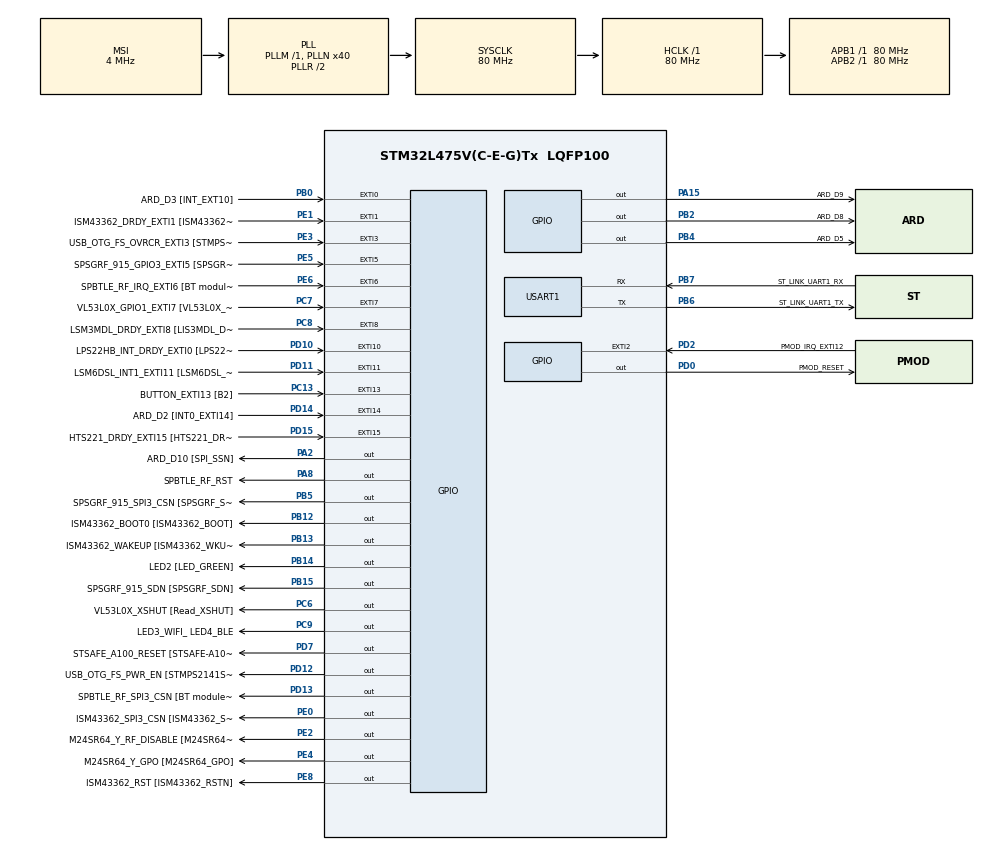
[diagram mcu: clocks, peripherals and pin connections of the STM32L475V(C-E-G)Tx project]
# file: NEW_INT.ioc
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Mcu.Family=STM32L4
Mcu.Name=STM32L475V(C-E-G)Tx
Mcu.Package=LQFP100
NVIC.EXTI15_10_IRQn=true\:0\:0\:false\:false\:true\:true\:true
NVIC.EXTI9_5_IRQn=true\:0\:0\:false\:false\:true\:true\:true
NVIC.PriorityGroup=NVIC_PRIORITYGROUP_4
NVIC.USART1_IRQn=true\:0\:0\:false\:false\:true\:true\:true
PA0.GPIO_Label=ARD_D1 [UART4_TX]
PA0.Signal=UART4_TX
PA1.GPIO_Label=ARD_D0 [UART4_RX]
PA1.Signal=UART4_RX
PA10.GPIO_Label=USB_OTG_FS_ID
PA10.Signal=USB_OTG_FS_ID
PA11.GPIO_Label=USB_OTG_FS_DM
PA11.Signal=USB_OTG_FS_DM
PA12.GPIO_Label=USB_OTG_FS_DP
PA12.Signal=USB_OTG_FS_DP
PA13\ (JTMS-SWDIO).GPIO_Label=SYS_JTMS_SWDIO
PA13\ (JTMS-SWDIO).Signal=SYS_JTMS-SWDIO
PA14\ (JTCK-SWCLK).GPIO_Label=SYS_JTCK_SWCLK
PA14\ (JTCK-SWCLK).Signal=SYS_JTCK-SWCLK
PA15\ (JTDI).GPIO_Label=ARD_D9
PA15\ (JTDI).Signal=GPIO_Output
PA2.GPIO_Label=ARD_D10 [SPI_SSN]
PA2.Signal=GPIO_Output
PA3.GPIO_Label=ARD_D4
PA3.Signal=S_TIM2_CH4
PA4.GPIO_Label=ARD_D7
PA4.Signal=ADCx_IN9
PA5.GPIO_Label=ARD_D13 [SPI1_SCK]
PA5.Signal=SPI1_SCK
PA6.GPIO_Label=ARD_D12 [SPI1_MISO]
PA6.Signal=SPI1_MISO
PA7.GPIO_Label=ARD_D11 [SPI1_MOSI]
PA7.Signal=SPI1_MOSI
PA8.GPIO_Label=SPBTLE_RF_RST
PA8.Signal=GPIO_Output
PA9.GPIO_Label=USB_OTG_FS_VBUS [STMPS2141STR_OUT]
PA9.Signal=USB_OTG_FS_VBUS
PB0.GPIO_Label=ARD_D3 [INT_EXT10]
PB0.Signal=GPXTI0
PB1.GPIO_Label=ARD_D6 [ADC1_IN6]
PB1.Signal=ADCx_IN16
PB10.GPIO_Label=INTERNAL_I2C2_SCL [VL53L0X_SCL]
PB10.Signal=I2C2_SCL
PB11.GPIO_Label=INTERNAL_I2C2_SDA [VL53L0X_SDA]
PB11.Signal=I2C2_SDA
PB12.GPIO_Label=ISM43362_BOOT0 [ISM43362_BOOT]
PB12.Signal=GPIO_Output
PB13.GPIO_Label=ISM43362_WAKEUP [ISM43362_WKUP]
PB13.Signal=GPIO_Output
PB14.GPIO_Label=LED2 [LED_GREEN]
PB14.Signal=GPIO_Output
PB15.GPIO_Label=SPSGRF_915_SDN [SPSGRF_SDN]
PB15.Signal=GPIO_Output
PB2.GPIO_Label=ARD_D8
PB2.Signal=GPIO_Output
PB3\ (JTDO-TRACESWO).GPIO_Label=SYS_JTD0_SWO
PB3\ (JTDO-TRACESWO).Signal=SYS_JTDO-SWO
PB4\ (NJTRST).GPIO_Label=ARD_D5
PB4\ (NJTRST).Signal=GPIO_Output
PB5.GPIO_Label=SPSGRF_915_SPI3_CSN [SPSGRF_SPI_CS]
PB5.PinState=GPIO_PIN_SET
PB5.Signal=GPIO_Output
PB6.GPIO_Label=ST_LINK_UART1_TX
PB6.Mode=Asynchronous
PB6.Signal=USART1_TX
PB7.GPIO_Label=ST_LINK_UART1_RX
PB7.Mode=Asynchronous
PB7.Signal=USART1_RX
PB8.GPIO_Label=ARD_D15 [I2C1_SCL]
PB8.Signal=I2C1_SCL
PB9.GPIO_Label=ARD_D14 [I2C1_SDA]
PB9.Signal=I2C1_SDA
PC0.GPIO_Label=ARD_A5 [ADC]
PC0.Signal=ADCx_IN1
PC1.GPIO_Label=ARD_A4 [ADC]
PC1.Signal=ADCx_IN2
PC10.GPIO_Label=INTERNAL_SPI3_SCK [BT module_SPI_SCLK] [ISM43362_SCK]
PC10.Signal=SPI3_SCK
PC11.GPIO_Label=INTERNAL_SPI3_MISO [BT module_SPI_MISO] [ISM43362_MISO]
PC11.Signal=SPI3_MISO
PC12.GPIO_Label=INTERNAL_SPI3_MOSI [BT module_SPI_MOSI] [ISM43362_MOSI]
PC12.Signal=SPI3_MOSI
PC13.GPIO_Label=BUTTON_EXTI13 [B2]
PC13.GPIO_ModeDefaultEXTI=GPIO_MODE_IT_FALLING
PC13.Signal=GPXTI13
PC14-OSC32_IN\ (PC14).Signal=RCC_OSC32_IN
PC15-OSC32_OUT\ (PC15).Signal=RCC_OSC32_OUT
PC2.GPIO_Label=ARD_A3 [ADC]
PC2.Signal=ADCx_IN3
PC3.GPIO_Label=ARD_A2 [ADC]
PC3.Signal=ADCx_IN4
PC4.GPIO_Label=ARD_A1 [ADC]
PC4.Signal=ADCx_IN13
PC5.GPIO_Label=ARD_A0 [ADC]
PC5.Signal=ADCx_IN14
PC6.GPIO_Label=VL53L0X_XSHUT [Read_XSHUT]
PC6.Signal=GPIO_Output
PC7.GPIO_Label=VL53L0X_GPIO1_EXTI7 [VL53L0X_GPIO1]
PC7.Signal=GPXTI7
PC8.GPIO_Label=LSM3MDL_DRDY_EXTI8 [LIS3MDL_DRDY]
PC8.Signal=GPXTI8
PC9.GPIO_Label=LED3_WIFI_ LED4_BLE
PC9.Signal=GPIO_Output
PD0.GPIO_Label=PMOD_RESET
PD0.Signal=GPIO_Output
PD1.GPIO_Label=PMOD_SPI2_SCK
PD1.Signal=SPI2_SCK
PD10.GPIO_Label=LPS22HB_INT_DRDY_EXTI0 [LPS22HB_INT_DRDY] 
PD10.Signal=GPXTI10
PD11.GPIO_Label=LSM6DSL_INT1_EXTI11 [LSM6DSL_INT1]
PD11.Signal=GPXTI11
PD12.GPIO_Label=USB_OTG_FS_PWR_EN [STMPS2141STR_EN]
PD12.Signal=GPIO_Output
PD13.GPIO_Label=SPBTLE_RF_SPI3_CSN [BT module_SPI_CS]
PD13.PinState=GPIO_PIN_SET
PD13.Signal=GPIO_Output
PD14.GPIO_Label=ARD_D2 [INT0_EXTI14]
PD14.Signal=GPXTI14
PD15.GPIO_Label=HTS221_DRDY_EXTI15 [HTS221_DRDY]
PD15.Signal=GPXTI15
PD2.GPIO_Label=PMOD_IRQ_EXTI12
PD2.Signal=GPXTI2
PD3.GPIO_Label=PMOD_UART2_CTS
PD3.Signal=USART2_CTS
PD4.GPIO_Label=PMOD_UART2_RTS
PD4.Signal=USART2_RTS
PD5.GPIO_Label=PMOD_UART2_TX
PD5.Signal=USART2_TX
PD6.GPIO_Label=PMOD_UART2_RX
PD6.Signal=USART2_RX
PD7.GPIO_Label=STSAFE_A100_RESET [STSAFE-A100_RESET]
PD7.Signal=GPIO_Output
PD8.GPIO_Label=INTERNAL_UART3_TX [ISM43362_RX]
PD8.Signal=USART3_TX
PD9.GPIO_Label=INTERNAL_UART3_RX [ISM43362_TX]
PD9.Signal=USART3_RX
PE0.GPIO_Label=ISM43362_SPI3_CSN [ISM43362_SSN]
PE0.PinState=GPIO_PIN_SET
PE0.Signal=GPIO_Output
PE1.GPIO_Label=ISM43362_DRDY_EXTI1 [ISM43362_DATARDY]
PE1.Signal=GPXTI1
PE10.GPIO_Label=QUADSPI_CLK [MX25R6435F_SCLK]
PE10.Signal=QUADSPI_CLK
PE11.GPIO_Label=QUADSPI_NCS [MX25R6435F_SCLK]
PE11.Signal=QUADSPI_NCS
PE12.GPIO_Label=OQUADSPI_BK1_IO0 [MX25R6435F_IO0]
PE12.Signal=QUADSPI_BK1_IO0
PE13.GPIO_Label=QUADSPI_BK1_IO1 [MX25R6435F_IO1]
PE13.Signal=QUADSPI_BK1_IO1
PE14.GPIO_Label=QUAD_SPI_BK1_IO2 [MX25R6435F_IO2]
PE14.Signal=QUADSPI_BK1_IO2
PE15.GPIO_Label=QUAD_SPI_BK1_IO3 [MX25R6435F_IO3]
PE15.Signal=QUADSPI_BK1_IO3
PE2.GPIO_Label=M24SR64_Y_RF_DISABLE [M24SR64_RFDIS]
PE2.Signal=GPIO_Output
PE3.GPIO_Label=USB_OTG_FS_OVRCR_EXTI3 [STMPS2141STR_FAULT]
PE3.Signal=GPXTI3
PE4.GPIO_Label=M24SR64_Y_GPO [M24SR64_GPO]
PE4.Signal=GPIO_Output
PE5.GPIO_Label=SPSGRF_915_GPIO3_EXTI5 [SPSGRF_GPIO_3]
PE5.Signal=GPXTI5
PE6.GPIO_Label=SPBTLE_RF_IRQ_EXTI6 [BT module_SPI_IRQ]
PE6.Signal=GPXTI6
PE7.GPIO_Label=DFSDM1_DATIN2 [MP34DT01_DOUT]
PE7.Signal=S_DATAIN2DFSDM1
PE8.GPIO_Label=ISM43362_RST [ISM43362_RSTN]
PE8.Signal=GPIO_Output
PE9.GPIO_Label=DFSDM1_CKOUT [MP34DT01_CLK]
PE9.Signal=S_CKOUTDFSDM1
ProjectManager.HeapSize=0x200
ProjectManager.StackSize=0x400
ProjectManager.TargetToolchain=STM32CubeIDE
RCC.ADCFreq_Value=48000000
RCC.AHBFreq_Value=80000000
RCC.APB1Freq_Value=80000000
RCC.APB1TimFreq_Value=80000000
RCC.APB2Freq_Value=80000000
RCC.APB2TimFreq_Value=80000000
RCC.CortexFreq_Value=80000000
RCC.HCLKFreq_Value=80000000
RCC.HSE_VALUE=8000000
RCC.HSI_VALUE=16000000
RCC.LSE_VALUE=32768
RCC.MSI_VALUE=4000000
RCC.PLLN=40
RCC.PLLSAI1N=24
RCC.SYSCLKFreq_VALUE=80000000
RCC.SYSCLKSource=RCC_SYSCLKSOURCE_PLLCLK
RCC.USBFreq_Value=48000000
RCC.VCOOutputFreq_Value=160000000
SH.ADCx_IN1.0=ADC1_IN1
SH.ADCx_IN13.0=ADC1_IN13
SH.ADCx_IN14.0=ADC1_IN14
SH.ADCx_IN16.0=ADC1_IN16
SH.ADCx_IN2.0=ADC1_IN2
SH.ADCx_IN3.0=ADC1_IN3
SH.ADCx_IN4.0=ADC1_IN4
SH.ADCx_IN9.0=ADC1_IN9
SH.S_CKOUTDFSDM1.0=DFSDM1_CKOUT
SH.S_DATAIN2DFSDM1.0=DFSDM1_DATIN2
SH.S_TIM2_CH4.0=TIM2_CH4
USART1.VirtualMode-Asynchronous=VM_ASYNC
board=B-L475E-IOT01A1

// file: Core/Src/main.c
/* USER CODE BEGIN Header */
/**
  ******************************************************************************
  * @file           : main.c
  * @brief          : Main program body
  ******************************************************************************
  * @attention
  *
  * <h2><center>&copy; Copyright (c) 2022 STMicroelectronics.
  * All rights reserved.</center></h2>
  *
  * This software component is licensed by ST under BSD 3-Clause license,
  * the "License"; You may not use this file except in compliance with the
  * License. You may obtain a copy of the License at:
  *                        opensource.org/licenses/BSD-3-Clause
  *
  ******************************************************************************
  */
/* USER CODE END Header */
#include "main.h"

/* USER CODE BEGIN Includes */
#include"stdio.h"
#include"string.h"
/* USER CODE END Includes */

/* USER CODE BEGIN PM */
#define BUFFERDATA 2
#define BUFFERRX 20
/* USER CODE END PM */

UART_HandleTypeDef huart1;

/* USER CODE BEGIN PV */
char TxBuffer[30]="Welcome UART1 INT..!!\r\n";
//char UART1_rxBuffer[30]="OUTPUT receive : \r\n";
char rxBuffer[BUFFERRX];

uint8_t newMsg = 0 , rxData[BUFFERDATA] , rxIndex=0,size=0 ;
/* USER CODE END PV */

void SystemClock_Config(void);
static void MX_GPIO_Init(void);
static void MX_USART1_UART_Init(void);

int main(void)
{

  /* MCU Configuration--------------------------------------------------------*/

  /* Reset of all peripherals, Initializes the Flash interface and the Systick. */
  HAL_Init();

  /* Configure the system clock */
  SystemClock_Config();

  /* Initialize all configured peripherals */
  MX_GPIO_Init();
  MX_USART1_UART_Init();
  /* USER CODE BEGIN 2 */

  HAL_UART_Transmit(&huart1,(uint8_t*)TxBuffer,strlen(TxBuffer),500);
  HAL_UART_Receive_IT(&huart1,rxData,1);

  /* USER CODE END 2 */

  /* Infinite loop */
  while (1)
  {

    /* USER CODE BEGIN 3 */

	  if(newMsg)
	     {
		  	 size =strlen(rxBuffer);
		  	 rxBuffer[size]='\r';
		  	 rxBuffer[size+1]='\n';
		     HAL_UART_Transmit(&huart1,(uint8_t*)rxBuffer,(size+3),500);

	         for(int i=0;i< BUFFERRX ;i++)
	         {
	             rxBuffer[i]=0;
	         }
	         newMsg=0;
	     }
  }
  /* USER CODE END 3 */
}

void SystemClock_Config(void)
{
  RCC_OscInitTypeDef RCC_OscInitStruct = {0};
  RCC_ClkInitTypeDef RCC_ClkInitStruct = {0};

  /** Configure the main internal regulator output voltage
  */
  if (HAL_PWREx_ControlVoltageScaling(PWR_REGULATOR_VOLTAGE_SCALE1) != HAL_OK)
  {
    Error_Handler();
  }
  /** Initializes the RCC Oscillators according to the specified parameters
  * in the RCC_OscInitTypeDef structure.
  */
  RCC_OscInitStruct.OscillatorType = RCC_OSCILLATORTYPE_MSI;
  RCC_OscInitStruct.MSIState = RCC_MSI_ON;
  RCC_OscInitStruct.MSICalibrationValue = 0;
  RCC_OscInitStruct.MSIClockRange = RCC_MSIRANGE_6;
  RCC_OscInitStruct.PLL.PLLState = RCC_PLL_ON;
  RCC_OscInitStruct.PLL.PLLSource = RCC_PLLSOURCE_MSI;
  RCC_OscInitStruct.PLL.PLLM = 1;
  RCC_OscInitStruct.PLL.PLLN = 40;
  RCC_OscInitStruct.PLL.PLLP = RCC_PLLP_DIV7;
  RCC_OscInitStruct.PLL.PLLQ = RCC_PLLQ_DIV2;
  RCC_OscInitStruct.PLL.PLLR = RCC_PLLR_DIV2;
  if (HAL_RCC_OscConfig(&RCC_OscInitStruct) != HAL_OK)
  {
    Error_Handler();
  }
  /** Initializes the CPU, AHB and APB buses clocks
  */
  RCC_ClkInitStruct.ClockType = RCC_CLOCKTYPE_HCLK|RCC_CLOCKTYPE_SYSCLK
                              |RCC_CLOCKTYPE_PCLK1|RCC_CLOCKTYPE_PCLK2;
  RCC_ClkInitStruct.SYSCLKSource = RCC_SYSCLKSOURCE_PLLCLK;
  RCC_ClkInitStruct.AHBCLKDivider = RCC_SYSCLK_DIV1;
  RCC_ClkInitStruct.APB1CLKDivider = RCC_HCLK_DIV1;
  RCC_ClkInitStruct.APB2CLKDivider = RCC_HCLK_DIV1;

  if (HAL_RCC_ClockConfig(&RCC_ClkInitStruct, FLASH_LATENCY_4) != HAL_OK)
  {
    Error_Handler();
  }
}

static void MX_USART1_UART_Init(void)
{

  huart1.Instance = USART1;
  huart1.Init.BaudRate = 115200;
  huart1.Init.WordLength = UART_WORDLENGTH_8B;
  huart1.Init.StopBits = UART_STOPBITS_1;
  huart1.Init.Parity = UART_PARITY_NONE;
  huart1.Init.Mode = UART_MODE_TX_RX;
  huart1.Init.HwFlowCtl = UART_HWCONTROL_NONE;
  huart1.Init.OverSampling = UART_OVERSAMPLING_16;
  huart1.Init.OneBitSampling = UART_ONE_BIT_SAMPLE_DISABLE;
  huart1.AdvancedInit.AdvFeatureInit = UART_ADVFEATURE_NO_INIT;
  if (HAL_UART_Init(&huart1) != HAL_OK)
  {
    Error_Handler();
  }

}

static void MX_GPIO_Init(void)
{
  GPIO_InitTypeDef GPIO_InitStruct = {0};

  /* GPIO Ports Clock Enable */
  __HAL_RCC_GPIOE_CLK_ENABLE();
  __HAL_RCC_GPIOC_CLK_ENABLE();
  __HAL_RCC_GPIOA_CLK_ENABLE();
  __HAL_RCC_GPIOB_CLK_ENABLE();
  __HAL_RCC_GPIOD_CLK_ENABLE();

  /*Configure GPIO pin Output Level */
  HAL_GPIO_WritePin(GPIOE, M24SR64_Y_RF_DISABLE_Pin|M24SR64_Y_GPO_Pin|ISM43362_RST_Pin, GPIO_PIN_RESET);

  /*Configure GPIO pin Output Level */
  HAL_GPIO_WritePin(GPIOA, ARD_D10_Pin|SPBTLE_RF_RST_Pin|ARD_D9_Pin, GPIO_PIN_RESET);

  /*Configure GPIO pin Output Level */
  HAL_GPIO_WritePin(GPIOB, ARD_D8_Pin|ISM43362_BOOT0_Pin|ISM43362_WAKEUP_Pin|LED2_Pin
                          |SPSGRF_915_SDN_Pin|ARD_D5_Pin, GPIO_PIN_RESET);

  /*Configure GPIO pin Output Level */
  HAL_GPIO_WritePin(GPIOD, USB_OTG_FS_PWR_EN_Pin|PMOD_RESET_Pin|STSAFE_A100_RESET_Pin, GPIO_PIN_RESET);

  /*Configure GPIO pin Output Level */
  HAL_GPIO_WritePin(SPBTLE_RF_SPI3_CSN_GPIO_Port, SPBTLE_RF_SPI3_CSN_Pin, GPIO_PIN_SET);

  /*Configure GPIO pin Output Level */
  HAL_GPIO_WritePin(GPIOC, VL53L0X_XSHUT_Pin|LED3_WIFI__LED4_BLE_Pin, GPIO_PIN_RESET);

  /*Configure GPIO pin Output Level */
  HAL_GPIO_WritePin(SPSGRF_915_SPI3_CSN_GPIO_Port, SPSGRF_915_SPI3_CSN_Pin, GPIO_PIN_SET);

  /*Configure GPIO pin Output Level */
  HAL_GPIO_WritePin(ISM43362_SPI3_CSN_GPIO_Port, ISM43362_SPI3_CSN_Pin, GPIO_PIN_SET);

  /*Configure GPIO pins : M24SR64_Y_RF_DISABLE_Pin M24SR64_Y_GPO_Pin ISM43362_RST_Pin ISM43362_SPI3_CSN_Pin */
  GPIO_InitStruct.Pin = M24SR64_Y_RF_DISABLE_Pin|M24SR64_Y_GPO_Pin|ISM43362_RST_Pin|ISM43362_SPI3_CSN_Pin;
  GPIO_InitStruct.Mode = GPIO_MODE_OUTPUT_PP;
  GPIO_InitStruct.Pull = GPIO_NOPULL;
  GPIO_InitStruct.Speed = GPIO_SPEED_FREQ_LOW;
  HAL_GPIO_Init(GPIOE, &GPIO_InitStruct);

  /*Configure GPIO pins : USB_OTG_FS_OVRCR_EXTI3_Pin SPSGRF_915_GPIO3_EXTI5_Pin SPBTLE_RF_IRQ_EXTI6_Pin ISM43362_DRDY_EXTI1_Pin */
  GPIO_InitStruct.Pin = USB_OTG_FS_OVRCR_EXTI3_Pin|SPSGRF_915_GPIO3_EXTI5_Pin|SPBTLE_RF_IRQ_EXTI6_Pin|ISM43362_DRDY_EXTI1_Pin;
  GPIO_InitStruct.Mode = GPIO_MODE_IT_RISING;
  GPIO_InitStruct.Pull = GPIO_NOPULL;
  HAL_GPIO_Init(GPIOE, &GPIO_InitStruct);

  /*Configure GPIO pin : BUTTON_EXTI13_Pin */
  GPIO_InitStruct.Pin = BUTTON_EXTI13_Pin;
  GPIO_InitStruct.Mode = GPIO_MODE_IT_FALLING;
  GPIO_InitStruct.Pull = GPIO_NOPULL;
  HAL_GPIO_Init(BUTTON_EXTI13_GPIO_Port, &GPIO_InitStruct);

  /*Configure GPIO pins : ARD_A5_Pin ARD_A4_Pin ARD_A3_Pin ARD_A2_Pin
                           ARD_A1_Pin ARD_A0_Pin */
  GPIO_InitStruct.Pin = ARD_A5_Pin|ARD_A4_Pin|ARD_A3_Pin|ARD_A2_Pin
                          |ARD_A1_Pin|ARD_A0_Pin;
  GPIO_InitStruct.Mode = GPIO_MODE_ANALOG_ADC_CONTROL;
  GPIO_InitStruct.Pull = GPIO_NOPULL;
  HAL_GPIO_Init(GPIOC, &GPIO_InitStruct);

  /*Configure GPIO pins : ARD_D1_Pin ARD_D0_Pin */
  GPIO_InitStruct.Pin = ARD_D1_Pin|ARD_D0_Pin;
  GPIO_InitStruct.Mode = GPIO_MODE_AF_PP;
  GPIO_InitStruct.Pull = GPIO_NOPULL;
  GPIO_InitStruct.Speed = GPIO_SPEED_FREQ_VERY_HIGH;
  GPIO_InitStruct.Alternate = GPIO_AF8_UART4;
  HAL_GPIO_Init(GPIOA, &GPIO_InitStruct);

  /*Configure GPIO pins : ARD_D10_Pin SPBTLE_RF_RST_Pin ARD_D9_Pin */
  GPIO_InitStruct.Pin = ARD_D10_Pin|SPBTLE_RF_RST_Pin|ARD_D9_Pin;
  GPIO_InitStruct.Mode = GPIO_MODE_OUTPUT_PP;
  GPIO_InitStruct.Pull = GPIO_NOPULL;
  GPIO_InitStruct.Speed = GPIO_SPEED_FREQ_LOW;
  HAL_GPIO_Init(GPIOA, &GPIO_InitStruct);

  /*Configure GPIO pin : ARD_D4_Pin */
  GPIO_InitStruct.Pin = ARD_D4_Pin;
  GPIO_InitStruct.Mode = GPIO_MODE_AF_PP;
  GPIO_InitStruct.Pull = GPIO_NOPULL;
  GPIO_InitStruct.Speed = GPIO_SPEED_FREQ_LOW;
  GPIO_InitStruct.Alternate = GPIO_AF1_TIM2;
  HAL_GPIO_Init(ARD_D4_GPIO_Port, &GPIO_InitStruct);

  /*Configure GPIO pin : ARD_D7_Pin */
  GPIO_InitStruct.Pin = ARD_D7_Pin;
  GPIO_InitStruct.Mode = GPIO_MODE_ANALOG_ADC_CONTROL;
  GPIO_InitStruct.Pull = GPIO_NOPULL;
  HAL_GPIO_Init(ARD_D7_GPIO_Port, &GPIO_InitStruct);

  /*Configure GPIO pins : ARD_D13_Pin ARD_D12_Pin ARD_D11_Pin */
  GPIO_InitStruct.Pin = ARD_D13_Pin|ARD_D12_Pin|ARD_D11_Pin;
  GPIO_InitStruct.Mode = GPIO_MODE_AF_PP;
  GPIO_InitStruct.Pull = GPIO_NOPULL;
  GPIO_InitStruct.Speed = GPIO_SPEED_FREQ_VERY_HIGH;
  GPIO_InitStruct.Alternate = GPIO_AF5_SPI1;
  HAL_GPIO_Init(GPIOA, &GPIO_InitStruct);

  /*Configure GPIO pin : ARD_D3_Pin */
  GPIO_InitStruct.Pin = ARD_D3_Pin;
  GPIO_InitStruct.Mode = GPIO_MODE_IT_RISING;
  GPIO_InitStruct.Pull = GPIO_NOPULL;
  HAL_GPIO_Init(ARD_D3_GPIO_Port, &GPIO_InitStruct);

  /*Configure GPIO pin : ARD_D6_Pin */
  GPIO_InitStruct.Pin = ARD_D6_Pin;
  GPIO_InitStruct.Mode = GPIO_MODE_ANALOG_ADC_CONTROL;
  GPIO_InitStruct.Pull = GPIO_NOPULL;
  HAL_GPIO_Init(ARD_D6_GPIO_Port, &GPIO_InitStruct);

  /*Configure GPIO pins : ARD_D8_Pin ISM43362_BOOT0_Pin ISM43362_WAKEUP_Pin LED2_Pin
                           SPSGRF_915_SDN_Pin ARD_D5_Pin SPSGRF_915_SPI3_CSN_Pin */
  GPIO_InitStruct.Pin = ARD_D8_Pin|ISM43362_BOOT0_Pin|ISM43362_WAKEUP_Pin|LED2_Pin
                          |SPSGRF_915_SDN_Pin|ARD_D5_Pin|SPSGRF_915_SPI3_CSN_Pin;
  GPIO_InitStruct.Mode = GPIO_MODE_OUTPUT_PP;
  GPIO_InitStruct.Pull = GPIO_NOPULL;
  GPIO_InitStruct.Speed = GPIO_SPEED_FREQ_LOW;
  HAL_GPIO_Init(GPIOB, &GPIO_InitStruct);

  /*Configure GPIO pins : DFSDM1_DATIN2_Pin DFSDM1_CKOUT_Pin */
  GPIO_InitStruct.Pin = DFSDM1_DATIN2_Pin|DFSDM1_CKOUT_Pin;
  GPIO_InitStruct.Mode = GPIO_MODE_AF_PP;
  GPIO_InitStruct.Pull = GPIO_NOPULL;
  GPIO_InitStruct.Speed = GPIO_SPEED_FREQ_LOW;
  GPIO_InitStruct.Alternate = GPIO_AF6_DFSDM1;
  HAL_GPIO_Init(GPIOE, &GPIO_InitStruct);

  /*Configure GPIO pins : QUADSPI_CLK_Pin QUADSPI_NCS_Pin OQUADSPI_BK1_IO0_Pin QUADSPI_BK1_IO1_Pin
                           QUAD_SPI_BK1_IO2_Pin QUAD_SPI_BK1_IO3_Pin */
  GPIO_InitStruct.Pin = QUADSPI_CLK_Pin|QUADSPI_NCS_Pin|OQUADSPI_BK1_IO0_Pin|QUADSPI_BK1_IO1_Pin
                          |QUAD_SPI_BK1_IO2_Pin|QUAD_SPI_BK1_IO3_Pin;
  GPIO_InitStruct.Mode = GPIO_MODE_AF_PP;
  GPIO_InitStruct.Pull = GPIO_NOPULL;
  GPIO_InitStruct.Speed = GPIO_SPEED_FREQ_VERY_HIGH;
  GPIO_InitStruct.Alternate = GPIO_AF10_QUADSPI;
  HAL_GPIO_Init(GPIOE, &GPIO_InitStruct);

  /*Configure GPIO pins : INTERNAL_I2C2_SCL_Pin INTERNAL_I2C2_SDA_Pin */
  GPIO_InitStruct.Pin = INTERNAL_I2C2_SCL_Pin|INTERNAL_I2C2_SDA_Pin;
  GPIO_InitStruct.Mode = GPIO_MODE_AF_OD;
  GPIO_InitStruct.Pull = GPIO_NOPULL;
  GPIO_InitStruct.Speed = GPIO_SPEED_FREQ_VERY_HIGH;
  GPIO_InitStruct.Alternate = GPIO_AF4_I2C2;
  HAL_GPIO_Init(GPIOB, &GPIO_InitStruct);

  /*Configure GPIO pins : INTERNAL_UART3_TX_Pin INTERNAL_UART3_RX_Pin */
  GPIO_InitStruct.Pin = INTERNAL_UART3_TX_Pin|INTERNAL_UART3_RX_Pin;
  GPIO_InitStruct.Mode = GPIO_MODE_AF_PP;
  GPIO_InitStruct.Pull = GPIO_NOPULL;
  GPIO_InitStruct.Speed = GPIO_SPEED_FREQ_VERY_HIGH;
  GPIO_InitStruct.Alternate = GPIO_AF7_USART3;
  HAL_GPIO_Init(GPIOD, &GPIO_InitStruct);

  /*Configure GPIO pins : LPS22HB_INT_DRDY_EXTI0_Pin LSM6DSL_INT1_EXTI11_Pin ARD_D2_Pin HTS221_DRDY_EXTI15_Pin
                           PMOD_IRQ_EXTI12_Pin */
  GPIO_InitStruct.Pin = LPS22HB_INT_DRDY_EXTI0_Pin|LSM6DSL_INT1_EXTI11_Pin|ARD_D2_Pin|HTS221_DRDY_EXTI15_Pin
                          |PMOD_IRQ_EXTI12_Pin;
  GPIO_InitStruct.Mode = GPIO_MODE_IT_RISING;
  GPIO_InitStruct.Pull = GPIO_NOPULL;
  HAL_GPIO_Init(GPIOD, &GPIO_InitStruct);

  /*Configure GPIO pins : USB_OTG_FS_PWR_EN_Pin SPBTLE_RF_SPI3_CSN_Pin PMOD_RESET_Pin STSAFE_A100_RESET_Pin */
  GPIO_InitStruct.Pin = USB_OTG_FS_PWR_EN_Pin|SPBTLE_RF_SPI3_CSN_Pin|PMOD_RESET_Pin|STSAFE_A100_RESET_Pin;
  GPIO_InitStruct.Mode = GPIO_MODE_OUTPUT_PP;
  GPIO_InitStruct.Pull = GPIO_NOPULL;
  GPIO_InitStruct.Speed = GPIO_SPEED_FREQ_LOW;
  HAL_GPIO_Init(GPIOD, &GPIO_InitStruct);

  /*Configure GPIO pins : VL53L0X_XSHUT_Pin LED3_WIFI__LED4_BLE_Pin */
  GPIO_InitStruct.Pin = VL53L0X_XSHUT_Pin|LED3_WIFI__LED4_BLE_Pin;
  GPIO_InitStruct.Mode = GPIO_MODE_OUTPUT_PP;
  GPIO_InitStruct.Pull = GPIO_NOPULL;
  GPIO_InitStruct.Speed = GPIO_SPEED_FREQ_LOW;
  HAL_GPIO_Init(GPIOC, &GPIO_InitStruct);

  /*Configure GPIO pins : VL53L0X_GPIO1_EXTI7_Pin LSM3MDL_DRDY_EXTI8_Pin */
  GPIO_InitStruct.Pin = VL53L0X_GPIO1_EXTI7_Pin|LSM3MDL_DRDY_EXTI8_Pin;
  GPIO_InitStruct.Mode = GPIO_MODE_IT_RISING;
  GPIO_InitStruct.Pull = GPIO_NOPULL;
  HAL_GPIO_Init(GPIOC, &GPIO_InitStruct);

  /*Configure GPIO pin : USB_OTG_FS_VBUS_Pin */
  GPIO_InitStruct.Pin = USB_OTG_FS_VBUS_Pin;
  GPIO_InitStruct.Mode = GPIO_MODE_INPUT;
  GPIO_InitStruct.Pull = GPIO_NOPULL;
  HAL_GPIO_Init(USB_OTG_FS_VBUS_GPIO_Port, &GPIO_InitStruct);

  /*Configure GPIO pins : USB_OTG_FS_ID_Pin USB_OTG_FS_DM_Pin USB_OTG_FS_DP_Pin */
  GPIO_InitStruct.Pin = USB_OTG_FS_ID_Pin|USB_OTG_FS_DM_Pin|USB_OTG_FS_DP_Pin;
  GPIO_InitStruct.Mode = GPIO_MODE_AF_PP;
  GPIO_InitStruct.Pull = GPIO_NOPULL;
  GPIO_InitStruct.Speed = GPIO_SPEED_FREQ_VERY_HIGH;
  GPIO_InitStruct.Alternate = GPIO_AF10_OTG_FS;
  HAL_GPIO_Init(GPIOA, &GPIO_InitStruct);

  /*Configure GPIO pins : INTERNAL_SPI3_SCK_Pin INTERNAL_SPI3_MISO_Pin INTERNAL_SPI3_MOSI_Pin */
  GPIO_InitStruct.Pin = INTERNAL_SPI3_SCK_Pin|INTERNAL_SPI3_MISO_Pin|INTERNAL_SPI3_MOSI_Pin;
  GPIO_InitStruct.Mode = GPIO_MODE_AF_PP;
  GPIO_InitStruct.Pull = GPIO_NOPULL;
  GPIO_InitStruct.Speed = GPIO_SPEED_FREQ_VERY_HIGH;
  GPIO_InitStruct.Alternate = GPIO_AF6_SPI3;
  HAL_GPIO_Init(GPIOC, &GPIO_InitStruct);

  /*Configure GPIO pin : PMOD_SPI2_SCK_Pin */
  GPIO_InitStruct.Pin = PMOD_SPI2_SCK_Pin;
  GPIO_InitStruct.Mode = GPIO_MODE_AF_PP;
  GPIO_InitStruct.Pull = GPIO_NOPULL;
  GPIO_InitStruct.Speed = GPIO_SPEED_FREQ_VERY_HIGH;
  GPIO_InitStruct.Alternate = GPIO_AF5_SPI2;
  HAL_GPIO_Init(PMOD_SPI2_SCK_GPIO_Port, &GPIO_InitStruct);

  /*Configure GPIO pins : PMOD_UART2_CTS_Pin PMOD_UART2_RTS_Pin PMOD_UART2_TX_Pin PMOD_UART2_RX_Pin */
  GPIO_InitStruct.Pin = PMOD_UART2_CTS_Pin|PMOD_UART2_RTS_Pin|PMOD_UART2_TX_Pin|PMOD_UART2_RX_Pin;
  GPIO_InitStruct.Mode = GPIO_MODE_AF_PP;
  GPIO_InitStruct.Pull = GPIO_NOPULL;
  GPIO_InitStruct.Speed = GPIO_SPEED_FREQ_VERY_HIGH;
  GPIO_InitStruct.Alternate = GPIO_AF7_USART2;
  HAL_GPIO_Init(GPIOD, &GPIO_InitStruct);

  /*Configure GPIO pins : ARD_D15_Pin ARD_D14_Pin */
  GPIO_InitStruct.Pin = ARD_D15_Pin|ARD_D14_Pin;
  GPIO_InitStruct.Mode = GPIO_MODE_AF_OD;
  GPIO_InitStruct.Pull = GPIO_NOPULL;
  GPIO_InitStruct.Speed = GPIO_SPEED_FREQ_VERY_HIGH;
  GPIO_InitStruct.Alternate = GPIO_AF4_I2C1;
  HAL_GPIO_Init(GPIOB, &GPIO_InitStruct);

  /* EXTI interrupt init*/
  HAL_NVIC_SetPriority(EXTI9_5_IRQn, 0, 0);
  HAL_NVIC_EnableIRQ(EXTI9_5_IRQn);

  HAL_NVIC_SetPriority(EXTI15_10_IRQn, 0, 0);
  HAL_NVIC_EnableIRQ(EXTI15_10_IRQn);

}

/* USER CODE BEGIN 4 */

void HAL_UART_RxCpltCallback(UART_HandleTypeDef *huart)
{
    if(huart -> Instance == USART1)
    {
    	if(rxData[0]!='\r')
        {
            rxBuffer[rxIndex]=rxData[0];
            rxIndex++;

        }
        else
        {
            newMsg=1;
            rxIndex=0;
        }
        HAL_UART_Receive_IT(&huart1 ,rxData,1);
    }
}
/* USER CODE END 4 */

void Error_Handler(void)
{
  __disable_irq();
  while (1)
  {
  }
}

/************************ (C) COPYRIGHT STMicroelectronics *****END OF FILE****/
